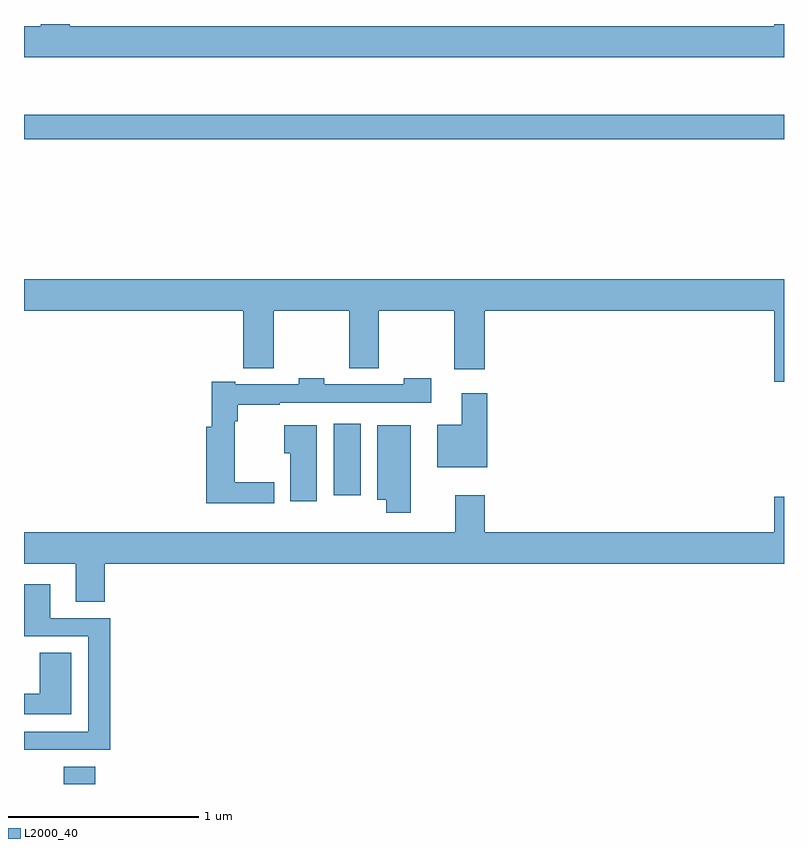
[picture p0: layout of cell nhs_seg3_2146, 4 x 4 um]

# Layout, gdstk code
import gdstk
lib = gdstk.Library(unit=1e-6, precision=1e-09)
def R(c, l, rs):  # rectangles x0, y0, x1, y1
    for r in rs: c.add(gdstk.rectangle(r[:2], r[2:], *l))
def P(c, l, *ps):  # polygons
    for p in ps: c.add(gdstk.Polygon(p, *l))
L2000_40 = (2000, 40)

nhs_seg3_2146 = lib.new_cell('nhs_seg3_2146')
R(nhs_seg3_2146, L2000_40, [(221.21,722.4,221.375,722.491), (222.629,723.921,222.772,724.297), (221,725.794,225,725.923)])
P(nhs_seg3_2146, L2000_40, [(225,726.4),(224.948,726.4),(224.948,726.388),(221.24,726.388),(221.24,726.4),(221.087,726.4),(221.087,726.388),(221,726.388),(221,726.224),(225,726.224)],
  [(225,725.056),(221,725.056),(221,724.892),(222.155,724.892),(222.155,724.588),(222.314,724.588),(222.314,724.892),(222.712,724.892),(222.712,724.588),(222.866,724.588),(222.866,724.892),(223.264,724.892),(223.264,724.584),(223.424,724.584),(223.424,724.892),(224.948,724.892),(224.948,724.518),(225,724.518)],
  [(222.316,723.988),(222.11,723.988),(222.11,724.31),(222.125,724.31),(222.125,724.395),(222.347,724.395),(222.347,724.407),(223.144,724.407),(223.144,724.536),(222.999,724.536),(222.999,724.503),(222.579,724.503),(222.579,724.536),(222.447,724.536),(222.447,724.503),(222.112,724.503),(222.112,724.516),(221.989,724.516),(221.989,724.279),(221.96,724.279),(221.96,723.878),(222.316,723.878)],
  [(223.439,724.456),(223.304,724.456),(223.304,724.291),(223.175,724.291),(223.175,724.067),(223.439,724.067)],
  [(222.541,724.288),(222.371,724.288),(222.371,724.141),(222.401,724.141),(222.401,723.888),(222.541,723.888)],
  [(223.036,724.288),(222.86,724.288),(222.86,723.896),(222.907,723.896),(222.907,723.828),(223.036,723.828)],
  [(221.426,723.56),(225,723.56),(225,723.913),(224.948,723.913),(224.948,723.724),(223.424,723.724),(223.424,723.919),(223.271,723.919),(223.271,723.724),(221,723.724),(221,723.56),(221.273,723.56),(221.273,723.358),(221.426,723.358)],
  [(221.126,722.58),(221.453,722.58),(221.453,723.273),(221.137,723.273),(221.137,723.451),(221,723.451),(221,723.177),(221.337,723.177),(221.337,722.676),(221,722.676),(221,722.579),(221.126,722.579)],
  [(221.248,723.092),(221.084,723.092),(221.084,722.875),(221,722.875),(221,722.766),(221.248,722.766)])

lib.write_gds('nhs_seg3_2146.gds')
